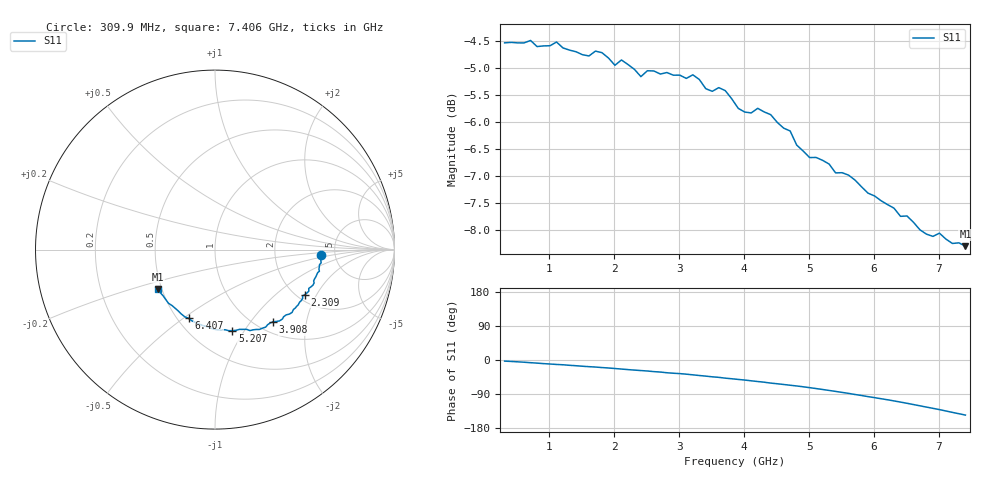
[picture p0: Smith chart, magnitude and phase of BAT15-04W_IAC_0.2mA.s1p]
! Infineon Technologies  Discrete & RF Semiconductors
! BAT15-04W-E6327
! IAC = 0.2 mA
! One-Port S-Parameters
# Hz  S  MA  R  50
!f  S11
!Hz  Mag  Ang
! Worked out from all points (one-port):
!   72 points, 309.9 MHz to 7.406 GHz, reference 50 ohm
!   lowest |S11| = -8.3 dB at 7.406 GHz (marker M1), VSWR 2.25, Z = 23.9 - j12.3 ohm
!   |S11| at or under -10 dB: nowhere
!   S11 on the Smith chart (normalised r, x): 309.9 MHz: 3.88, -0.36; 2.309 GHz: 2.20, -1.61; 3.908 GHz: 1.18, -1.30; 5.207 GHz: 0.77, -0.89; 6.407 GHz: 0.57, -0.52; 7.406 GHz: 0.48, -0.25
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3.0985e8  0.5929 -2.9
7.0965e8  0.5959 -7.1
8.096e8  0.5882 -8.2
1.10945e9  0.5939 -11.7
1.2094e9  0.5865 -12.6
1.6092e9  0.5766 -17.6
1.70915e9  0.5826 -18.6
2.009e9  0.5653 -22.5
2.10895e9  0.5717 -23.9
2.30885e9  0.5605 -26.6
2.4088e9  0.5518 -27.9
2.50875e9  0.5588 -29.0
3.0085e9  0.5535 -35.9
3.2084e9  0.554 -39.2
3.4083e9  0.5379 -42.6
3.70815e9  0.5357 -47.9
3.90805e9  0.5158 -51.3
4.4078e9  0.509 -60.9
4.70765e9  0.4917 -66.6
4.8076e9  0.4772 -68.5
5.2074e9  0.4619 -77.8
5.70715e9  0.4429 -91.1
6.2069e9  0.4205 -104.9
6.4068e9  0.4101 -111.1
6.6067e9  0.4049 -117.6
6.8066e9  0.3949 -124.3
7.0065e9  0.3957 -130.9
7.4063e9  0.3849 -145.3
